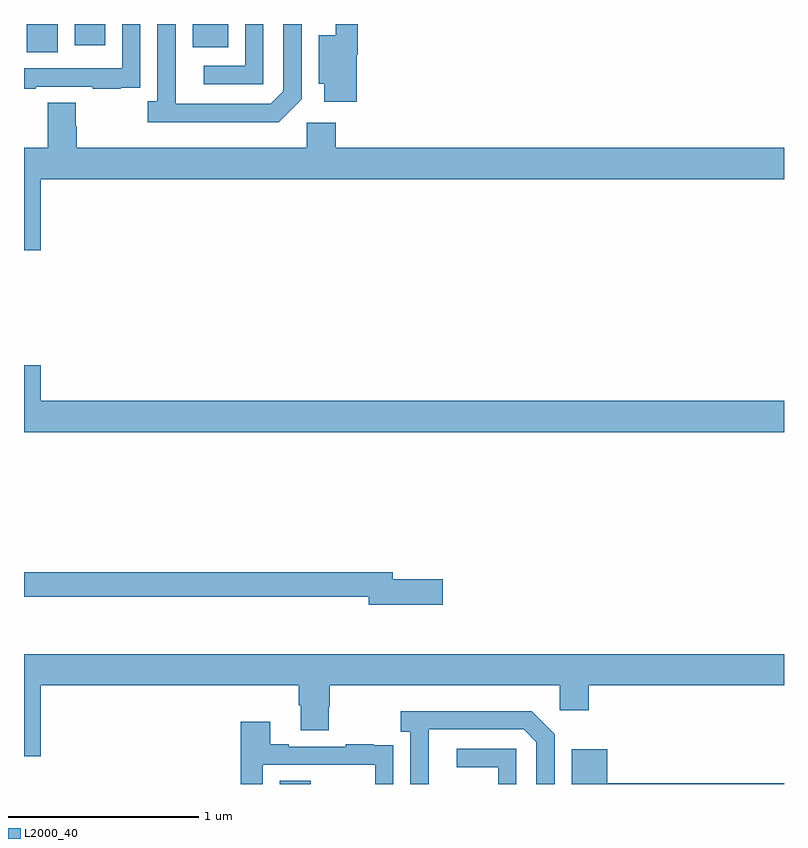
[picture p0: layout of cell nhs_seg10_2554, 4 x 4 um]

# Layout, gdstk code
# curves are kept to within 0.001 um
import gdstk
lib = gdstk.Library(unit=1e-6, precision=1e-09)
def R(c, l, rs):  # rectangles x0, y0, x1, y1
    for r in rs: c.add(gdstk.rectangle(r[:2], r[2:], *l))
def P(c, l, *ps):  # polygons
    for p in ps: c.add(gdstk.Polygon(p, *l))
L2000_40 = (2000, 40)

nhs_seg10_2554 = lib.new_cell('nhs_seg10_2554')
R(nhs_seg10_2554, L2000_40, [(250.346,1262.5,250.51,1262.516), (249.014,1266.352,249.178,1266.5), (249.887,1266.377,250.075,1266.5), (249.266,1266.387,249.427,1266.5)])
P(nhs_seg10_2554, L2000_40, [(249.061,1266.171),(249.361,1266.171),(249.361,1266.159),(249.509,1266.159),(249.509,1266.165),(249.611,1266.165),(249.611,1266.274),(249.612,1266.274),(249.612,1266.5),(249.516,1266.5),(249.516,1266.267),(249,1266.267),(249,1266.159),(249.061,1266.159)],
  [(250.751,1266.338),(250.757,1266.338),(250.757,1266.5),(250.64,1266.5),(250.64,1266.442),(250.55,1266.442),(250.55,1266.185),(250.58,1266.185),(250.58,1266.09),(250.751,1266.09)],
  [(250.461,1266.105),(250.461,1266.5),(250.365,1266.5),(250.365,1266.147),(250.299,1266.081),(249.799,1266.081),(249.798,1266.5),(249.702,1266.5),(249.702,1266.094),(249.651,1266.094),(249.651,1265.984),(250.34,1265.984)],
  [(250.26,1266.5),(250.164,1266.5),(250.164,1266.279),(249.945,1266.279),(249.945,1266.183),(250.26,1266.183)],
  [(249.088,1265.684),(253,1265.684),(253,1265.848),(250.64,1265.848),(250.64,1265.98),(250.488,1265.98),(250.488,1265.848),(249.278,1265.848),(249.278,1265.961),(249.273,1265.961),(249.273,1266.086),(249.125,1266.086),(249.125,1265.848),(249,1265.848),(249,1265.31),(249.088,1265.31)],
  [(253,1264.516),(249.088,1264.516),(249.088,1264.705),(249,1264.705),(249,1264.352),(253,1264.352)],
  [(251.203,1263.578),(250.942,1263.578),(250.942,1263.614),(249,1263.614),(249,1263.486),(250.814,1263.486),(250.814,1263.443),(251.203,1263.443)],
  [(249.088,1263.02),(250.445,1263.02),(250.445,1262.914),(250.457,1262.914),(250.457,1262.782),(250.605,1262.782),(250.605,1262.907),(250.61,1262.907),(250.61,1263.02),(251.82,1263.02),(251.82,1262.889),(251.972,1262.889),(251.972,1263.02),(253,1263.02),(253,1263.184),(249,1263.184),(249,1262.646),(249.088,1262.646)],
  [(251.13,1262.587),(251.131,1262.787),(251.631,1262.787),(251.697,1262.721),(251.697,1262.5),(251.793,1262.5),(251.793,1262.763),(251.672,1262.884),(250.983,1262.884),(250.983,1262.774),(251.034,1262.774),(251.034,1262.5),(251.13,1262.5)],
  [(250.257,1262.601),(250.848,1262.601),(250.848,1262.5),(250.944,1262.5),(250.944,1262.594),(250.943,1262.594),(250.943,1262.703),(250.841,1262.703),(250.841,1262.71),(250.693,1262.71),(250.693,1262.697),(250.393,1262.697),(250.393,1262.71),(250.297,1262.71),(250.297,1262.827),(250.141,1262.827),(250.141,1262.5),(250.257,1262.5)],
  [(251.592,1262.685),(251.277,1262.685),(251.277,1262.589),(251.496,1262.589),(251.496,1262.5),(251.592,1262.5)],
  [(253,1262.504),(252.069,1262.504),(252.069,1262.683),(251.882,1262.683),(251.882,1262.5),(253,1262.5)])

lib.write_gds('nhs_seg10_2554.gds')
